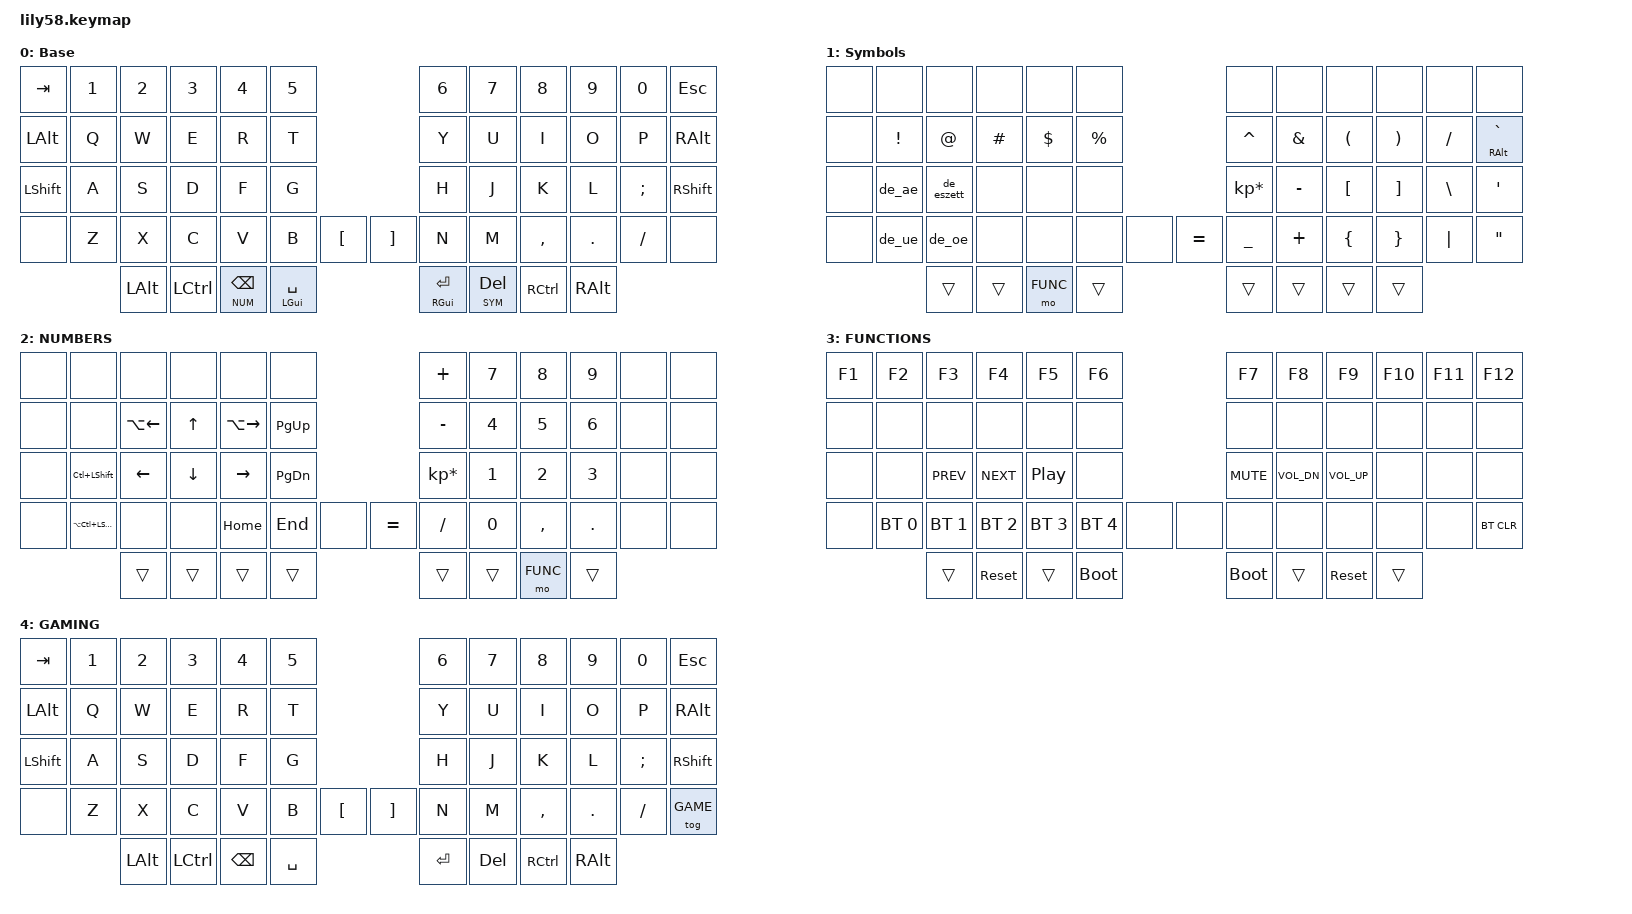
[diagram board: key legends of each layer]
/*
 * Copyright (c) 2020 The ZMK Contributors
 *
 * SPDX-License-Identifier: MIT
 *
 * Base Layout from: https://github.com/jporter-dev/zmk-config
 */

#include <dt-bindings/zmk/keys.h>
#include <dt-bindings/zmk/bt.h>
#include <dt-bindings/zmk/ext_power.h>
#include <behaviors.dtsi>

#define HOST_OS 2
#include "zmk-helpers/helper.h"
#include "zmk-helpers/key-labels/34.h"
#include "zmk-helpers/unicode-chars/german.dtsi"

// LAYERS
#define DEFAULT 0
#define SYM     1
#define NUM     2
#define FUNC    3
#define GAME    4

// MACROS
#define SUPER LC(LSHIFT)
#define SUPER2 LA(LC(LSHIFT))

&mt {
  tapping-term-ms = <200>;
  flavor = "tap-preferred";
};

/ {
    behaviors {
        td_uml_a: td_umlaut_a {
                    compatible = "zmk,behavior-tap-dance";
                    label = "TAP_DANCE_UMLAUT_A";
                    #binding-cells = <0>;
                    tapping-term-ms = <200>;
                    bindings = <&kp A>, <&de_ae>;
                };

                td_uml_o: td_umlaut_o {
                    compatible = "zmk,behavior-tap-dance";
                    label = "TAP_DANCE_UMLAUT_O";
                    #binding-cells = <0>;
                    tapping-term-ms = <200>;
                    bindings = <&kp O>, <&de_oe>;
                };

                td_uml_u: td_umlaut_u {
                    compatible = "zmk,behavior-tap-dance";
                    label = "TAP_DANCE_UMLAUT_U";
                    #binding-cells = <0>;
                    tapping-term-ms = <200>;
                    bindings = <&kp U>, <&de_ue>;
                };

                td_uml_sz: td_umlaut_sz {
                    compatible = "zmk,behavior-tap-dance";
                    label = "TAP_DANCE_UMLAUT_SZ";
                    #binding-cells = <0>;
                    tapping-term-ms = <200>;
                    bindings = <&kp S>, <&de_eszett>;
                };
    };

    combos {
        compatible = "zmk,combos";

        // Beide äusseren Daumen-Alt-Tasten gleichzeitig -> Gaming Layer togglen
        combo_game {
            timeout-ms = <50>;
            key-positions = <50 57>;
            bindings = <&tog GAME>;
        };
    };

    keymap {
        compatible = "zmk,keymap";

        // ---Base--------------------------------------------------------------------------------------
        default_layer {
            display-name = "Base";
            bindings = <
                // ╭───────────────┬───────────────┬───────────────┬───────────────┬───────────────┬───────────────╮                                   ╭───────────────┬───────────────┬───────────────┬───────────────┬───────────────┬───────────────╮
                //  TAB             1               2               3               4               5                                                   6               7               8               9               0               ESC
                // ├---------------┼---------------┼---------------┼---------------┼---------------┼---------------┤                                   ├---------------┼---------------┼---------------┼---------------┼---------------┼---------------┤
                    &kp TAB         &kp N1          &kp N2          &kp N3          &kp N4          &kp N5                                              &kp N6          &kp N7          &kp N8          &kp N9          &kp N0          &kp ESC
                // ├───────────────┼───────────────┼───────────────┼───────────────┼───────────────┼───────────────┤                                   ├───────────────┼───────────────┼───────────────┼───────────────┼───────────────┼───────────────┤
                //                  Q               W               E               R               T                                                   Y               U               I               O               P
                // ├---------------┼---------------┼---------------┼---------------┼---------------┼---------------┤                                   ├---------------┼---------------┼---------------┼---------------┼---------------┼---------------┤
                    &kp LALT        &kp Q           &kp W           &kp E           &kp R           &kp T                                               &kp Y           &kp U           &kp I           &kp O           &kp P           &kp RALT
                // ├───────────────┼───────────────┼───────────────┼───────────────┼───────────────┼───────────────┤                                   ├───────────────┼───────────────┼───────────────┼───────────────┼───────────────┼───────────────┤
                //  LSHIFT          A               S               D               F               G                                                   H               J               K               L               ;               RSHIFT
                // ├---------------┼---------------┼---------------┼---------------┼---------------┼---------------┤                                   ├---------------┼---------------┼---------------┼---------------┼---------------┼---------------┤
                    &kp LSHIFT      &kp A           &kp S           &kp D           &kp F           &kp G                                               &kp H           &kp J           &kp K           &kp L           &kp SEMI        &kp RSHIFT
                // ├───────────────┼───────────────┼───────────────┼───────────────┼───────────────┼───────────────┤───────────────╮   ╭───────────────├───────────────┼───────────────┼───────────────┼───────────────┼───────────────┼───────────────┤
                //                  Z               X               C               V               B               [                   ]               N               M               ,               .               /
                // ├---------------┼---------------┼---------------┼---------------┼---------------┼---------------┼---------------┤   ├---------------┼---------------┼---------------┼---------------┼---------------┼---------------┼---------------┤
                    &none           &kp Z           &kp X           &kp C           &kp V           &kp B           &kp LBKT            &kp RBKT        &kp N           &kp M           &kp COMMA       &kp DOT         &kp FSLH        &none
                // ╰───────────────┼───────────────┼───────────────┼───────────────┼───────────────┼───────────────┤───────────────╯   ╰───────────────├───────────────┼───────────────┼───────────────┼───────────────┼───────────────────────────────╯
                //                                  LALT            LCTRL           BACK SPACE      SPACE                                               ENTER           DELETE          RCTRL           RALT
                //                                 ├---------------┼---------------┼---------------┼---------------┤                                   ├---------------┼---------------┼---------------┼---------------┤
                                                    &kp LALT        &kp LCTRL       &lt NUM  BSPC   &mt LGUI SPACE                                      &mt RGUI RET    &lt SYM DEL     &kp RCTRL       &kp RALT
                //                                 ╰───────────────┴───────────────┴───────────────┴───────────────╯                                   ╰───────────────┴───────────────┴───────────────┴───────────────╯
            >;
        };


        // ---Symbols--------------------------------------------------------------------------------------
        sym_layer {
            display-name = "Symbols";
            bindings = <
                // ╭───────────────┬───────────────┬───────────────┬───────────────┬───────────────┬───────────────╮                                   ╭───────────────┬───────────────┬───────────────┬───────────────┬───────────────┬───────────────╮
                //
                // ├---------------┼---------------┼---------------┼---------------┼---------------┼---------------┤                                   ├---------------┼---------------┼---------------┼---------------┼---------------┼---------------┤
                    &none           &none           &none           &none           &none           &none                                               &none           &none           &none           &none           &none           &none
                // ├───────────────┼───────────────┼───────────────┼───────────────┼───────────────┼───────────────┤                                   ├───────────────┼───────────────┼───────────────┼───────────────┼───────────────┼───────────────┤
                //                  !               @               #               $               %                                                   ^               &               (               )               /               `
                // ├---------------┼---------------┼---------------┼---------------┼---------------┼---------------┤                                   ├---------------┼---------------┼---------------┼---------------┼---------------┼---------------┤
                    &none           &kp EXCL        &kp AT          &kp HASH        &kp DLLR        &kp PRCNT                                           &kp CARET       &kp AMPS        &kp LPAR        &kp RPAR        &kp FSLH        &mt RALT GRAVE
                // ├───────────────┼───────────────┼───────────────┼───────────────┼───────────────┼───────────────┤                                   ├───────────────┼───────────────┼───────────────┼───────────────┼───────────────┼───────────────┤
                //                  ä               ß                                                                                                   *               -               [               ]               \               '
                // ├---------------┼---------------┼---------------┼---------------┼---------------┼---------------┤                                   ├---------------┼---------------┼---------------┼---------------┼---------------┼---------------┤
                    &none           &de_ae          &de_eszett      &none           &none           &none                                               &kp KP_MULTIPLY &kp MINUS       &kp LBKT        &kp RBKT        &kp BSLH        &kp SQT
                // ├───────────────┼───────────────┼───────────────┼───────────────┼───────────────┼───────────────┤───────────────╮   ╭───────────────├───────────────┼───────────────┼───────────────┼───────────────┼───────────────┼───────────────┤
                //                  ü               ö                                                                                   =                _               +               {               }               |               "
                // ├---------------┼---------------┼---------------┼---------------┼---------------┼---------------┼---------------┤   ├---------------┼---------------┼---------------┼---------------┼---------------┼---------------┼---------------┤
                    &none           &de_ue          &de_oe          &none           &none           &none           &none               &kp EQUAL &kp UNDER       &kp PLUS        &kp LBRC        &kp RBRC        &kp PIPE        &kp DQT
                // ╰───────────────┼───────────────┼───────────────┼───────────────┼───────────────┼───────────────┤───────────────╯   ╰───────────────├───────────────┼───────────────┼───────────────┼───────────────┼───────────────────────────────╯
                //                                                                  FUNC LAYER
                //                                 ├---------------┼---------------┼---------------┼---------------┤                                   ├---------------┼---------------┼---------------┼---------------┤
                                                    &trans          &trans          &mo FUNC        &trans                                              &trans          &trans          &trans          &trans
                //                                 ╰───────────────┴───────────────┴───────────────┴───────────────╯                                   ╰───────────────┴───────────────┴───────────────┴───────────────╯
            >;
        };


        // ---NUMBERS--------------------------------------------------------------------------------------
        num_layer {
            display-name = "NUMBERS";
            bindings = <
                // ╭───────────────┬───────────────┬───────────────┬───────────────┬───────────────┬───────────────╮                                   ╭───────────────┬───────────────┬───────────────┬───────────────┬───────────────┬───────────────╮
                //                                                                                                                                      +                7               8               9
                // ├---------------┼---------------┼---------------┼---------------┼---------------┼---------------┤                                   ├---------------┼---------------┼---------------┼---------------┼---------------┼---------------┤
                    &none           &none           &none           &none           &none           &none                                               &kp PLUS        &kp N7          &kp N8          &kp N9          &none           &none
                // ├───────────────┼───────────────┼───────────────┼───────────────┼───────────────┼───────────────┤                                   ├───────────────┼───────────────┼───────────────┼───────────────┼───────────────┼───────────────┤
                //                  JUMP WORD L     UP              JUMP WORD R     PG_UP                                                               -               4               5               6
                // ├---------------┼---------------┼---------------┼---------------┼---------------┼---------------┤                                   ├---------------┼---------------┼---------------┼---------------┼---------------┼---------------┤
                    &none           &none           &kp LA(LEFT)    &kp UP          &kp LA(RIGHT)   &kp PG_UP                                           &kp MINUS        &kp N4          &kp N5          &kp N6         &none           &none
                // ├───────────────┼───────────────┼───────────────┼───────────────┼───────────────┼───────────────┤                                   ├───────────────┼───────────────┼───────────────┼───────────────┼───────────────┼───────────────┤
                //                  SUPER           LEFT            DOWN            RIGHT           PG_DOWN                                             *               1               2               3
                // ├---------------┼---------------┼---------------┼---------------┼---------------┼---------------┤                                   ├---------------┼---------------┼---------------┼---------------┼---------------┼---------------┤
                    &none           &kp SUPER       &kp LEFT        &kp DOWN        &kp RIGHT       &kp PG_DN                                           &kp KP_MULTIPLY &kp N1          &kp N2          &kp N3          &none           &none
                // ├───────────────┼───────────────┼───────────────┼───────────────┼───────────────┼───────────────┤───────────────╮   ╭───────────────├───────────────┼───────────────┼───────────────┼───────────────┼───────────────┼───────────────┤
                //                  SUPER2                                          HOME            END             &none               =               /               0               ,               .
                // ├---------------┼---------------┼---------------┼---------------┼---------------┼---------------┼---------------┤   ├---------------┼---------------┼---------------┼---------------┼---------------┼---------------┼---------------┤
                    &none           &kp SUPER2      &none           &none           &kp HOME        &kp END         &none               &kp EQUAL       &kp FSLH        &kp N0          &kp COMMA       &kp DOT         &none           &none
                // ╰───────────────┼───────────────┼───────────────┼───────────────┼───────────────┼───────────────┤───────────────╯   ╰───────────────├───────────────┼───────────────┼───────────────┼───────────────┼───────────────────────────────╯
                //                                                                                                                                                                      FUNC LAYER
                //                                 ├---------------┼---------------┼---------------┼---------------┤                                   ├---------------┼---------------┼---------------┼---------------┤
                                                    &trans          &trans          &trans          &trans                                              &trans          &trans          &mo FUNC        &trans
                //                                 ╰───────────────┴───────────────┴───────────────┴───────────────╯                                   ╰───────────────┴───────────────┴───────────────┴───────────────╯
            >;
        };


        // ---FUNCTIONS--------------------------------------------------------------------------------------
        func_layer {
            display-name = "FUNCTIONS";
            bindings = <
                // ╭───────────────┬───────────────┬───────────────┬───────────────┬───────────────┬───────────────╮                                   ╭───────────────┬───────────────┬───────────────┬───────────────┬───────────────┬───────────────╮
                //  F1              F2              F3              F4              F5              F6                                                  F7              F8              F9              F10             F11             F12
                // ├---------------┼---------------┼---------------┼---------------┼---------------┼---------------┤                                   ├---------------┼---------------┼---------------┼---------------┼---------------┼---------------┤
                    &kp F1          &kp F2          &kp F3          &kp F4          &kp F5          &kp F6                                              &kp F7          &kp F8          &kp F9          &kp F10         &kp F11         &kp F12
                // ├───────────────┼───────────────┼───────────────┼───────────────┼───────────────┼───────────────┤                                   ├───────────────┼───────────────┼───────────────┼───────────────┼───────────────┼───────────────┤
                //
                // ├---------------┼---------------┼---------------┼---------------┼---------------┼---------------┤                                   ├---------------┼---------------┼---------------┼---------------┼---------------┼---------------┤
                    &none           &none           &none           &none           &none           &none                                               &none           &none           &none           &none           &none           &none
                // ├───────────────┼───────────────┼───────────────┼───────────────┼───────────────┼───────────────┤                                   ├───────────────┼───────────────┼───────────────┼───────────────┼───────────────┼───────────────┤
                //                                  PREV            NEXT            PLAY_PAUSE                                                          MUTE            VOL_DOWN        VOL_UP
                // ├---------------┼---------------┼---------------┼---------------┼---------------┼---------------┤                                   ├---------------┼---------------┼---------------┼---------------┼---------------┼---------------┤
                    &none           &none           &kp C_PREV      &kp C_NEXT      &kp C_PLAY_PAUSE &none                                              &kp C_MUTE      &kp C_VOL_DN    &kp C_VOL_UP    &none           &none           &none
                // ├───────────────┼───────────────┼───────────────┼───────────────┼───────────────┼───────────────┤───────────────╮   ╭───────────────├───────────────┼───────────────┼───────────────┼───────────────┼───────────────┼───────────────┤
                //
                // ├---------------┼---------------┼---------------┼---------------┼---------------┼---------------┼---------------┤   ├---------------┼---------------┼---------------┼---------------┼---------------┼---------------┼---------------┤
                    &none           &bt BT_SEL 0    &bt BT_SEL 1    &bt BT_SEL 2    &bt BT_SEL 3    &bt BT_SEL 4    &none               &none           &none           &none           &none           &none           &none           &bt BT_CLR
                // ╰───────────────┼───────────────┼───────────────┼───────────────┼───────────────┼───────────────┤───────────────╯   ╰───────────────├───────────────┼───────────────┼───────────────┼───────────────┼───────────────────────────────╯
                //
                //                                 ├---------------┼---------------┼---------------┼---------------┤                                   ├---------------┼---------------┼---------------┼---------------┤
                                                    &trans          &sys_reset      &trans          &bootloader                                         &bootloader     &trans          &sys_reset      &trans
                //                                 ╰───────────────┴───────────────┴───────────────┴───────────────╯                                   ╰───────────────┴───────────────┴───────────────┴───────────────╯
            >;
        };


        // ---GAMING--------------------------------------------------------------------------------------
        game_layer {
            display-name = "GAMING";
            bindings = <
                // ╭───────────────┬───────────────┬───────────────┬───────────────┬───────────────┬───────────────╮                                   ╭───────────────┬───────────────┬───────────────┬───────────────┬───────────────┬───────────────╮
                //  TAB             1               2               3               4               5                                                   6               7               8               9               0               ESC
                // ├---------------┼---------------┼---------------┼---------------┼---------------┼---------------┤                                   ├---------------┼---------------┼---------------┼---------------┼---------------┼---------------┤
                    &kp TAB         &kp N1          &kp N2          &kp N3          &kp N4          &kp N5                                              &kp N6          &kp N7          &kp N8          &kp N9          &kp N0          &kp ESC
                // ├───────────────┼───────────────┼───────────────┼───────────────┼───────────────┼───────────────┤                                   ├───────────────┼───────────────┼───────────────┼───────────────┼───────────────┼───────────────┤
                //                  Q               W               E               R               T                                                   Y               U               I               O               P
                // ├---------------┼---------------┼---------------┼---------------┼---------------┼---------------┤                                   ├---------------┼---------------┼---------------┼---------------┼---------------┼---------------┤
                    &kp LALT        &kp Q           &kp W           &kp E           &kp R           &kp T                                               &kp Y           &kp U           &kp I           &kp O           &kp P           &kp RALT
                // ├───────────────┼───────────────┼───────────────┼───────────────┼───────────────┼───────────────┤                                   ├───────────────┼───────────────┼───────────────┼───────────────┼───────────────┼───────────────┤
                //  LSHIFT          A               S               D               F               G                                                   H               J               K               L               ;               RSHIFT
                // ├---------------┼---------------┼---------------┼---------------┼---------------┼---------------┤                                   ├---------------┼---------------┼---------------┼---------------┼---------------┼---------------┤
                    &kp LSHIFT      &kp A           &kp S           &kp D           &kp F           &kp G                                               &kp H           &kp J           &kp K           &kp L           &kp SEMI        &kp RSHIFT
                // ├───────────────┼───────────────┼───────────────┼───────────────┼───────────────┼───────────────┤───────────────╮   ╭───────────────├───────────────┼───────────────┼───────────────┼───────────────┼───────────────┼───────────────┤
                //                  Z               X               C               V               B               [                   ]               N               M               ,               .               /               TOG GAME
                // ├---------------┼---------------┼---------------┼---------------┼---------------┼---------------┼---------------┤   ├---------------┼---------------┼---------------┼---------------┼---------------┼---------------┼---------------┤
                    &none           &kp Z           &kp X           &kp C           &kp V           &kp B           &kp LBKT            &kp RBKT        &kp N           &kp M           &kp COMMA       &kp DOT         &kp FSLH        &tog GAME
                // ╰───────────────┼───────────────┼───────────────┼───────────────┼───────────────┼───────────────┤───────────────╯   ╰───────────────├───────────────┼───────────────┼───────────────┼───────────────┼───────────────────────────────╯
                //                                  LALT            LCTRL           BACK SPACE      SPACE                                               ENTER           DELETE          RCTRL           RALT
                //                                 ├---------------┼---------------┼---------------┼---------------┤                                   ├---------------┼---------------┼---------------┼---------------┤
                                                    &kp LALT        &kp LCTRL       &kp BSPC        &kp SPACE                                           &kp RET         &kp DEL         &kp RCTRL       &kp RALT
                //                                 ╰───────────────┴───────────────┴───────────────┴───────────────╯                                   ╰───────────────┴───────────────┴───────────────┴───────────────╯
            >;
        };
    };
};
